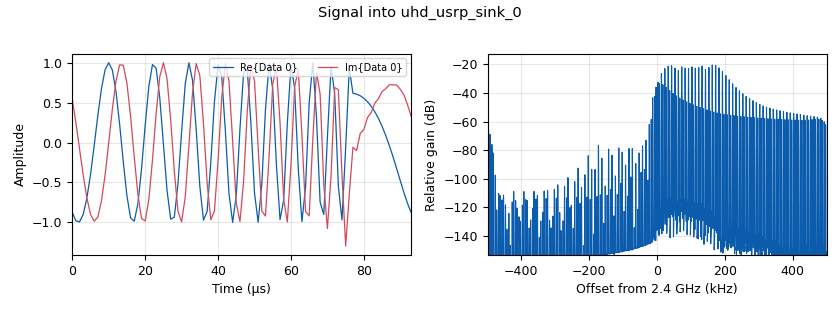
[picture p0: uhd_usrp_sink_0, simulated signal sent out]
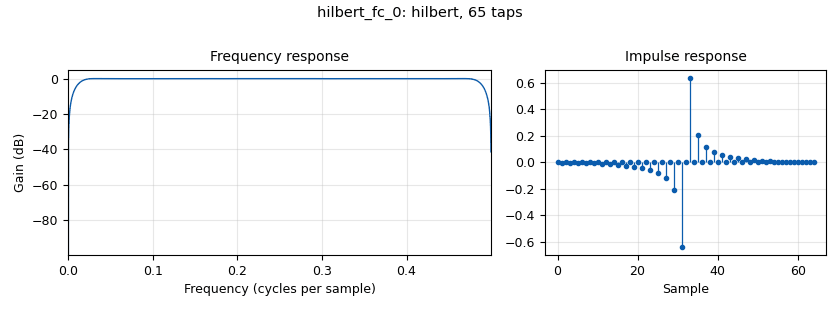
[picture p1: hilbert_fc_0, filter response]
<?xml version='1.0' encoding='utf-8'?>
<?grc format='1' created='3.7.13'?>
<flow_graph>
<block>
<key>options</key>
<param><key>id</key><value>top_block</value></param>
<param><key>generate_options</key><value>qt_gui</value></param>
</block>
<block>
<key>variable</key>
<param><key>id</key><value>samp_rate</value></param>
<param><key>value</key><value>1e6</value></param>
</block>
<block>
<key>analog_sig_source_x</key>
<param><key>id</key><value>analog_sig_source_x_0</value></param>
<param><key>amp</key><value>1</value></param>
<param><key>freq</key><value>10000</value></param>
<param><key>offset</key><value>0</value></param>
<param><key>type</key><value>float</value></param>
<param><key>samp_rate</key><value>samp_rate</value></param>
<param><key>waveform</key><value>analog.GR_SAW_WAVE</value></param>
</block>
<block>
<key>blocks_vco_f</key>
<param><key>id</key><value>blocks_vco_f_0</value></param>
<param><key>amplitude</key><value>1</value></param>
<param><key>samp_rate</key><value>samp_rate</value></param>
<param><key>sensitivity</key><value>1.28e6</value></param>
</block>
<block>
<key>hilbert_fc</key>
<param><key>id</key><value>hilbert_fc_0</value></param>
<param><key>num_taps</key><value>64</value></param>
<param><key>win</key><value>firdes.WIN_HAMMING</value></param>
</block>
<block>
<key>qtgui_freq_sink_x</key>
<param><key>id</key><value>qtgui_freq_sink_x_0</value></param>
<param><key>bw</key><value>samp_rate</value></param>
<param><key>fc</key><value>2.4</value></param>
<param><key>fftsize</key><value>1024</value></param>
<param><key>showports</key><value>True</value></param>
<param><key>type</key><value>complex</value></param>
<param><key>wintype</key><value>firdes.WIN_BLACKMAN_hARRIS</value></param>
</block>
<block>
<key>qtgui_time_sink_x</key>
<param><key>id</key><value>qtgui_time_sink_x_0</value></param>
<param><key>ctrlpanel</key><value>True</value></param>
<param><key>grid</key><value>True</value></param>
<param><key>color1</key><value>"blue"</value></param>
<param><key>label1</key><value></value></param>
<param><key>color2</key><value>"red"</value></param>
<param><key>label2</key><value></value></param>
<param><key>size</key><value>1024</value></param>
<param><key>srate</key><value>samp_rate</value></param>
<param><key>type</key><value>complex</value></param>
<param><key>ymax</key><value>0.07</value></param>
<param><key>ymin</key><value>-0.07</value></param>
</block>
<block>
<key>qtgui_waterfall_sink_x</key>
<param><key>id</key><value>qtgui_waterfall_sink_x_0</value></param>
<param><key>bw</key><value>samp_rate</value></param>
<param><key>fc</key><value>2.4e9</value></param>
<param><key>fftsize</key><value>1024</value></param>
<param><key>showports</key><value>True</value></param>
<param><key>type</key><value>complex</value></param>
<param><key>wintype</key><value>firdes.WIN_BLACKMAN_hARRIS</value></param>
</block>
<block>
<key>uhd_usrp_sink</key>
<param><key>id</key><value>uhd_usrp_sink_0</value></param>
<param><key>ant0</key><value></value></param>
<param><key>center_freq0</key><value>2.4e9</value></param>
<param><key>norm_gain0</key><value>False</value></param>
<param><key>gain0</key><value>0</value></param>
<param><key>clock_rate</key><value>0.0</value></param>
<param><key>dev_args</key><value>""</value></param>
<param><key>type</key><value>fc32</value></param>
<param><key>samp_rate</key><value>samp_rate</value></param>
<param><key>hide_cmd_port</key><value>False</value></param>
<param><key>hide_lo_controls</key><value>True</value></param>
<param><key>sync</key><value></value></param>
<param><key>len_tag_name</key><value></value></param>
</block>
<block>
<key>uhd_usrp_source</key>
<param><key>id</key><value>uhd_usrp_source_0</value></param>
<param><key>ant0</key><value></value></param>
<param><key>center_freq0</key><value>2.4e9</value></param>
<param><key>dc_offs_enb0</key><value>""</value></param>
<param><key>iq_imbal_enb0</key><value>""</value></param>
<param><key>norm_gain0</key><value>False</value></param>
<param><key>gain0</key><value>0</value></param>
<param><key>clock_rate</key><value>0.0</value></param>
<param><key>dev_args</key><value>""</value></param>
<param><key>type</key><value>fc32</value></param>
<param><key>samp_rate</key><value>samp_rate</value></param>
<param><key>hide_cmd_port</key><value>False</value></param>
<param><key>hide_lo_controls</key><value>True</value></param>
<param><key>sync</key><value></value></param>
</block>
<connection><source_block_id>analog_sig_source_x_0</source_block_id><sink_block_id>blocks_vco_f_0</sink_block_id><source_key>0</source_key><sink_key>0</sink_key></connection>
<connection><source_block_id>blocks_vco_f_0</source_block_id><sink_block_id>hilbert_fc_0</sink_block_id><source_key>0</source_key><sink_key>0</sink_key></connection>
<connection><source_block_id>hilbert_fc_0</source_block_id><sink_block_id>uhd_usrp_sink_0</sink_block_id><source_key>0</source_key><sink_key>0</sink_key></connection>
<connection><source_block_id>uhd_usrp_source_0</source_block_id><sink_block_id>qtgui_freq_sink_x_0</sink_block_id><source_key>0</source_key><sink_key>0</sink_key></connection>
<connection><source_block_id>uhd_usrp_source_0</source_block_id><sink_block_id>qtgui_time_sink_x_0</sink_block_id><source_key>0</source_key><sink_key>0</sink_key></connection>
<connection><source_block_id>uhd_usrp_source_0</source_block_id><sink_block_id>qtgui_waterfall_sink_x_0</sink_block_id><source_key>0</source_key><sink_key>0</sink_key></connection>
</flow_graph>
